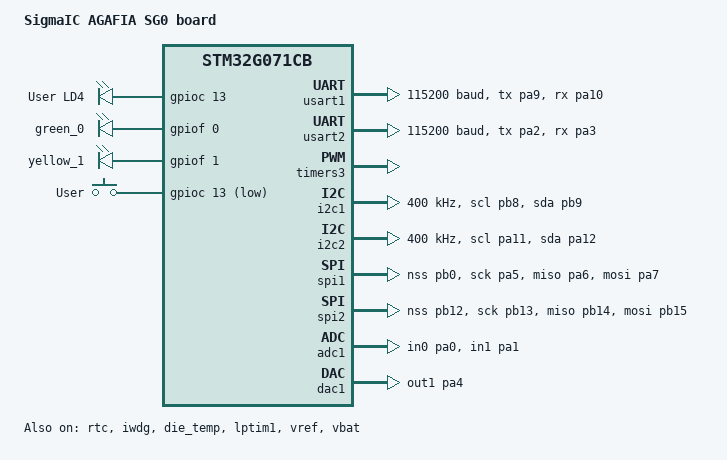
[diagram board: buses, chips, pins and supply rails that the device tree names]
/*
 * Copyright (c) 2019 Philippe Retornaz <philippe@shapescale.com>
 * Copyright (c) 2019 STMicroelectronics
 *
 * SPDX-License-Identifier: Apache-2.0
 */

/dts-v1/;
#include <st/g0/stm32g071Xb.dtsi>
#include <st/g0/stm32g071c(6-8-b)tx-pinctrl.dtsi>
#include "arduino_r3_connector.dtsi"
#include "st_morpho_connector.dtsi"
#include <zephyr/dt-bindings/input/input-event-codes.h>

/ {
	model = "SigmaIC AGAFIA SG0 board";
	compatible = "st,stm32g071cb";

	chosen {
		zephyr,console = &usart2;
		zephyr,shell-uart = &usart2;
		zephyr,sram = &sram0;
		zephyr,flash = &flash0;
	};


	leds: leds {
		compatible = "gpio-leds";
		red_led_1: led_4 {
			gpios = <&gpioc 13 GPIO_ACTIVE_HIGH>;
			label = "User LD4";
		}; 
		green_0: led_0 {
			gpios = <&gpiof 0 GPIO_ACTIVE_HIGH>;
		};
		yellow_1: led_1 {
			gpios = <&gpiof 1 GPIO_ACTIVE_HIGH>;
		};
	};

	gpio_keys {
		compatible = "gpio-keys";
		user_button: button {
			label = "User";
			gpios = <&gpioc 13 GPIO_ACTIVE_LOW>;
			zephyr,code = <INPUT_KEY_0>;
		};
		
	};

	aliases {
		led0 = &red_led_1;
		ledf0 = &green_0;
		ledf1 = &yellow_1;
		sw0 = &user_button;
		watchdog0 = &iwdg;
		die-temp0 = &die_temp;
		volt-sensor0 = &vref;
		volt-sensor1 = &vbat;
	};
};

&clk_lsi {
	status = "okay";
};

&clk_hsi {
	status = "okay";
};

&pll {
	div-m = <1>;
	mul-n = <8>;
	div-p = <2>;
	div-q = <2>;
	div-r = <2>;
	clocks = <&clk_hsi>;
	status = "okay";
};

&rcc {
	clocks = <&pll>;
	clock-frequency = <DT_FREQ_M(64)>;
	ahb-prescaler = <1>;
	apb1-prescaler = <1>;
};

&usart1 {
	pinctrl-0 = <&usart1_tx_pa9 &usart1_rx_pa10>;
	pinctrl-names = "default";
	current-speed = <115200>;
	status = "okay";
};

&usart2 {
	pinctrl-0 = <&usart2_tx_pa2 &usart2_rx_pa3>;
	pinctrl-names = "default";
	current-speed = <115200>;
	status = "okay";
};

&rtc {
	clocks = <&rcc STM32_CLOCK_BUS_APB1 0x00000400>,
		 <&rcc STM32_SRC_LSI RTC_SEL(2)>;
	status = "okay";

	backup_regs {
		status = "okay";
	};
};

&iwdg {
	status = "okay";
};

&timers3 {
	st,prescaler = <10000>;
	status = "okay";
	pwm3: pwm {
		status = "okay";
		pinctrl-0 = <&tim3_ch1_pa6>;
		pinctrl-names = "default";
	};
};

&i2c1 {
	pinctrl-0 = <&i2c1_scl_pb8 &i2c1_sda_pb9>;
	pinctrl-names = "default";
	status = "okay";
	clock-frequency = <I2C_BITRATE_FAST>;
};

&i2c2 {
	pinctrl-0 = <&i2c2_scl_pa11 &i2c2_sda_pa12>;
	pinctrl-names = "default";
	status = "okay";
	clock-frequency = <I2C_BITRATE_FAST>;
};

&spi1 {
	pinctrl-0 = <&spi1_nss_pb0 &spi1_sck_pa5
		     &spi1_miso_pa6 &spi1_mosi_pa7>;
	pinctrl-names = "default";
	status = "okay";
};

&spi2 {
	pinctrl-0 = <&spi2_nss_pb12 &spi2_sck_pb13
		     &spi2_miso_pb14 &spi2_mosi_pb15>;
	pinctrl-names = "default";
	status = "okay";
};

&adc1 {
	clocks = <&rcc STM32_CLOCK_BUS_APB1_2 0x00100000>,
		 <&rcc STM32_SRC_SYSCLK ADC_SEL(0)>;
	pinctrl-0 = <&adc1_in0_pa0 &adc1_in1_pa1>;
	pinctrl-names = "default";
	st,adc-clock-source = "ASYNC";
	st,adc-prescaler = <4>;
	status = "okay";
	vref-mv = <3300>;
};

&dac1 {
	status = "okay";
	pinctrl-0 = <&dac1_out1_pa4>;
	pinctrl-names = "default";
};

&die_temp {
	status = "okay";
};

&flash0 {
	partitions {
		compatible = "fixed-partitions";
		#address-cells = <1>;
		#size-cells = <1>;

		/* Set 4KB of storage at the end of 128KB flash */
		storage_partition: partition@1f000 {
			label = "storage";
			reg = <0x0001f000 DT_SIZE_K(4)>;
		};
	};
};

stm32_lp_tick_source: &lptim1 {
	clocks = <&rcc STM32_CLOCK_BUS_APB1 0x80000000>,
		 <&rcc STM32_SRC_LSI LPTIM1_SEL(1)>;
	status = "okay";
};

&vref {
	status = "okay";
};

&vbat {
	status = "okay";
};
